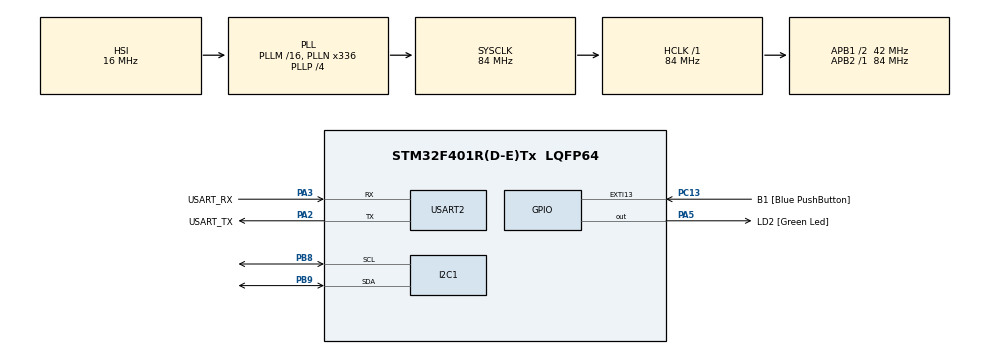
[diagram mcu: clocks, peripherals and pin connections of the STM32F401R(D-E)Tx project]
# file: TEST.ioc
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Mcu.Family=STM32F4
Mcu.Name=STM32F401R(D-E)Tx
Mcu.Package=LQFP64
NVIC.PriorityGroup=NVIC_PRIORITYGROUP_0
PA13.GPIO_Label=TMS
PA13.Mode=Serial_Wire
PA13.Signal=SYS_JTMS-SWDIO
PA14.GPIO_Label=TCK
PA14.Mode=Serial_Wire
PA14.Signal=SYS_JTCK-SWCLK
PA2.GPIO_Label=USART_TX
PA2.GPIO_Mode=GPIO_MODE_AF_PP
PA2.GPIO_PuPd=GPIO_NOPULL
PA2.GPIO_Speed=GPIO_SPEED_FREQ_LOW
PA2.Mode=Asynchronous
PA2.Signal=USART2_TX
PA3.GPIO_Label=USART_RX
PA3.GPIO_Mode=GPIO_MODE_AF_PP
PA3.GPIO_PuPd=GPIO_NOPULL
PA3.GPIO_Speed=GPIO_SPEED_FREQ_LOW
PA3.Mode=Asynchronous
PA3.Signal=USART2_RX
PA5.GPIO_Label=LD2 [Green Led]
PA5.GPIO_Mode=GPIO_MODE_OUTPUT_PP
PA5.GPIO_PuPd=GPIO_NOPULL
PA5.GPIO_Speed=GPIO_SPEED_FREQ_LOW
PA5.Signal=GPIO_Output
PB3.GPIO_Label=SWO
PB3.Signal=SYS_JTDO-SWO
PB8.Mode=I2C
PB8.Signal=I2C1_SCL
PB9.Mode=I2C
PB9.Signal=I2C1_SDA
PC13-ANTI_TAMP.GPIO_Label=B1 [Blue PushButton]
PC13-ANTI_TAMP.GPIO_ModeDefaultEXTI=GPIO_MODE_IT_FALLING
PC13-ANTI_TAMP.GPIO_PuPd=GPIO_NOPULL
PC13-ANTI_TAMP.Signal=GPXTI13
PC14-OSC32_IN.Mode=LSE-External-Oscillator
PC14-OSC32_IN.Signal=RCC_OSC32_IN
PC15-OSC32_OUT.Mode=LSE-External-Oscillator
PC15-OSC32_OUT.Signal=RCC_OSC32_OUT
PH0\ -\ OSC_IN.Mode=HSE-External-Clock-Source
PH0\ -\ OSC_IN.Signal=RCC_OSC_IN
PH1\ -\ OSC_OUT.Mode=HSE-External-Clock-Source
PH1\ -\ OSC_OUT.Signal=RCC_OSC_OUT
ProjectManager.HeapSize=0x200
ProjectManager.StackSize=0x400
ProjectManager.TargetToolchain=Makefile
RCC.48MHZClocksFreq_Value=48000000
RCC.AHBFreq_Value=84000000
RCC.APB1CLKDivider=RCC_HCLK_DIV2
RCC.APB1Freq_Value=42000000
RCC.APB1TimFreq_Value=84000000
RCC.APB2Freq_Value=84000000
RCC.APB2TimFreq_Value=84000000
RCC.CortexFreq_Value=84000000
RCC.HCLKFreq_Value=84000000
RCC.HSE_VALUE=8000000
RCC.HSI_VALUE=16000000
RCC.PLLN=336
RCC.PLLP=RCC_PLLP_DIV4
RCC.PLLQ=7
RCC.SYSCLKFreq_VALUE=84000000
RCC.SYSCLKSource=RCC_SYSCLKSOURCE_PLLCLK
RCC.VCOOutputFreq_Value=336000000
USART2.VirtualMode=VM_ASYNC
board=NUCLEO-F401RE

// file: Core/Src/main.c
/* USER CODE BEGIN Header */
/**
 ******************************************************************************
 * @file           : main.c
 * @brief          : Main program body
 ******************************************************************************
 * @attention
 *
 * Copyright (c) 2023 STMicroelectronics.
 * All rights reserved.
 *
 * This software is licensed under terms that can be found in the LICENSE file
 * in the root directory of this software component.
 * If no LICENSE file comes with this software, it is provided AS-IS.
 *
 ******************************************************************************
 */
/* USER CODE END Header */
#include "main.h"

/* USER CODE BEGIN Includes */
#include <stdio.h>
/* USER CODE END Includes */

/* USER CODE BEGIN PTD */
struct MPU6050_data
{
  int8_t accelX_MSB, accelX_LSB;
  int8_t accelY_MSB, accelY_LSB;
  int8_t accelZ_MSB, accelZ_LSB;

  int8_t temp_MSB, temp_LSB;

  int8_t gyroX_MSB, gyroX_LSB;
  int8_t gyroY_MSB, gyroY_LSB;
  int8_t gyroZ_MSB, gyroZ_LSB;
};

struct __attribute__ ((packed)) MPU6050_accel_data
{
  uint8_t SOH;
  float accX, accY, accZ;
  uint8_t EOT;
};
/* USER CODE END PTD */

/* USER CODE BEGIN PM */
#define IMU_ADR_WRITE   (0x68 << 1) + 0
#define IMU_ADR_READ    (0x68 << 1) + 1
#define MPU_ACCEL_COEF  (2.0f / 32767.0f)
#define MPU_GYRO_COEF   (250.0f / 32767.0f)
/* USER CODE END PM */

I2C_HandleTypeDef hi2c1;

UART_HandleTypeDef huart2;

/* USER CODE BEGIN PV */
int _write(int fd, char *ptr, int len)
{
  HAL_UART_Transmit(&huart2, (uint8_t *)ptr, len, HAL_MAX_DELAY);
  return len;
}

void send_data(uint8_t *ptr, int len)
{
  HAL_UART_Transmit(&huart2, (uint8_t *)ptr, len, HAL_MAX_DELAY);
}
/* USER CODE END PV */

void SystemClock_Config(void);
static void MX_GPIO_Init(void);
static void MX_USART2_UART_Init(void);
static void MX_I2C1_Init(void);
/* USER CODE BEGIN PFP */
void Read_info();
/* USER CODE END PFP */

/* USER CODE BEGIN 0 */
void Read_info()
{
    // Recover all data from the MPU in one call using our stuct
    // Register 59 to 64 Accelerometer (see register map p29)
    // Register 65 to 66 Accelerometer (see register map 30)
    // Register 67 to 72 Accelerometer (see register map 31)
  struct MPU6050_data data;
  HAL_I2C_Mem_Read(&hi2c1, IMU_ADR_READ, 59, 1, (uint8_t*)&data, sizeof(struct MPU6050_data), HAL_MAX_DELAY);

  struct MPU6050_accel_data dataToSend;
  // Converting our value to g force(Accel) and to deg/sec(Gyro)
  dataToSend.SOH = 0x1;
  dataToSend.accX = MPU_ACCEL_COEF * (((int16_t)data.accelX_MSB << 8) + (int16_t)data.accelX_LSB);
  dataToSend.accY = MPU_ACCEL_COEF * (((int16_t)data.accelY_MSB << 8) + (int16_t)data.accelY_LSB);
  dataToSend.accZ = MPU_ACCEL_COEF * (((int16_t)data.accelZ_MSB << 8) + (int16_t)data.accelZ_LSB);
  dataToSend.EOT = 0x4;
  /*float gyroX = MPU_GYRO_COEF * (((int16_t)data.gyroX_MSB << 8) + (int16_t)data.gyroX_LSB);
  float gyroY = MPU_GYRO_COEF * (((int16_t)data.gyroY_MSB << 8) + (int16_t)data.gyroY_LSB);
  float gyroZ = MPU_GYRO_COEF * (((int16_t)data.gyroZ_MSB << 8) + (int16_t)data.gyroZ_LSB);*/

  /*printf(">accelX:%f\n", dataToSend.accX);
  printf(">accelY:%f\n", dataToSend.accY);
  printf(">accelZ:%f\n", dataToSend.accZ);*/
  /*printf(">gyroX:%f\n", gyroX);
  printf(">gyroY:%f\n", gyroY);
  printf(">gyroZ:%f\n", gyroZ);*/
  send_data((uint8_t*)&dataToSend, sizeof(struct MPU6050_accel_data));
}
/* USER CODE END 0 */

int main(void)
{

  /* MCU Configuration--------------------------------------------------------*/

  /* Reset of all peripherals, Initializes the Flash interface and the Systick. */
  HAL_Init();

  /* Configure the system clock */
  SystemClock_Config();

  /* Initialize all configured peripherals */
  MX_GPIO_Init();
  MX_USART2_UART_Init();
  MX_I2C1_Init();
  /* USER CODE BEGIN 2 */

  // Init the I2C device
  HAL_StatusTypeDef ret = HAL_I2C_IsDeviceReady(&hi2c1, IMU_ADR_WRITE, 1, HAL_MAX_DELAY);
  if (ret != HAL_OK)
  {
    printf("Failed to init device!\n");
    return 1;
  }

  uint8_t data = 0;
  // Set the gyroscope scale range to +/-250 deg/s
  // Register 27 (see register map p14)
  HAL_I2C_Mem_Write(&hi2c1, IMU_ADR_WRITE, 27, 1, &data, 1, HAL_MAX_DELAY);
  if (ret != HAL_OK)
  {
    printf("Failed to setup gyroscope range!\n");
    return 1;
  }

  // Set the accelerometer scale range to +/-2G deg/s
  // Register 28 (see register map p15)
  HAL_I2C_Mem_Write(&hi2c1, IMU_ADR_WRITE, 28, 1, &data, 1, HAL_MAX_DELAY);
  if (ret != HAL_OK)
  {
    printf("Failed to setup accelerometer range!\n");
    return 1;
  }

  // Enables ACCEL_XOUT_H, ACCEL_XOUT_L, ACCEL_YOUT_H, ACCEL_YOUT_L, ACCEL_ZOUT_H, and ACCEL_ZOUT_L
  // Register 38 (see register map p15)
  /*HAL_I2C_Mem_Write(&hi2c1, IMU_ADR_WRITE, 38, 1, &data, 1, HAL_MAX_DELAY);
  if (ret != HAL_OK)
  {
    printf("Failed to set FIFO with accelo!\n");
    return 1;
  }*/

  // Enable FIFO_OFLOW_EN
  // Register 60 (see register map p40)
  /*HAL_I2C_Mem_Write(&hi2c1, IMU_ADR_WRITE, 60, 1, &data, 1, HAL_MAX_DELAY);
  if (ret != HAL_OK)
  {
    printf("Failed to wake up the device!\n");
    return 1;
  }*/

  // Exit sleep mode / Wake up the device. We won't receive any data when it is in sleep mode.
  // Register 107 (see register map p40)
  HAL_I2C_Mem_Write(&hi2c1, IMU_ADR_WRITE, 107, 1, &data, 1, HAL_MAX_DELAY);
  if (ret != HAL_OK)
  {
    printf("Failed to wake up the device!\n");
    return 1;
  }

  printf("MPU6050 Initialized correctly\n");
  // Little delay in case the MPU need to do some work before being able to receive data
  HAL_Delay(15);

  /* USER CODE END 2 */
  /* Infinite loop */
  while (1)
  {

    /* USER CODE BEGIN 3 */
    Read_info();
    HAL_Delay(5);
  }
  /* USER CODE END 3 */
}

void SystemClock_Config(void)
{
  RCC_OscInitTypeDef RCC_OscInitStruct = {0};
  RCC_ClkInitTypeDef RCC_ClkInitStruct = {0};

  /** Configure the main internal regulator output voltage
   */
  __HAL_RCC_PWR_CLK_ENABLE();
  __HAL_PWR_VOLTAGESCALING_CONFIG(PWR_REGULATOR_VOLTAGE_SCALE2);

  /** Initializes the RCC Oscillators according to the specified parameters
   * in the RCC_OscInitTypeDef structure.
   */
  RCC_OscInitStruct.OscillatorType = RCC_OSCILLATORTYPE_HSI;
  RCC_OscInitStruct.HSIState = RCC_HSI_ON;
  RCC_OscInitStruct.HSICalibrationValue = RCC_HSICALIBRATION_DEFAULT;
  RCC_OscInitStruct.PLL.PLLState = RCC_PLL_ON;
  RCC_OscInitStruct.PLL.PLLSource = RCC_PLLSOURCE_HSI;
  RCC_OscInitStruct.PLL.PLLM = 16;
  RCC_OscInitStruct.PLL.PLLN = 336;
  RCC_OscInitStruct.PLL.PLLP = RCC_PLLP_DIV4;
  RCC_OscInitStruct.PLL.PLLQ = 7;
  if (HAL_RCC_OscConfig(&RCC_OscInitStruct) != HAL_OK)
  {
    Error_Handler();
  }

  /** Initializes the CPU, AHB and APB buses clocks
   */
  RCC_ClkInitStruct.ClockType = RCC_CLOCKTYPE_HCLK | RCC_CLOCKTYPE_SYSCLK | RCC_CLOCKTYPE_PCLK1 | RCC_CLOCKTYPE_PCLK2;
  RCC_ClkInitStruct.SYSCLKSource = RCC_SYSCLKSOURCE_PLLCLK;
  RCC_ClkInitStruct.AHBCLKDivider = RCC_SYSCLK_DIV1;
  RCC_ClkInitStruct.APB1CLKDivider = RCC_HCLK_DIV2;
  RCC_ClkInitStruct.APB2CLKDivider = RCC_HCLK_DIV1;

  if (HAL_RCC_ClockConfig(&RCC_ClkInitStruct, FLASH_LATENCY_2) != HAL_OK)
  {
    Error_Handler();
  }
}

static void MX_I2C1_Init(void)
{

  hi2c1.Instance = I2C1;
  hi2c1.Init.ClockSpeed = 100000;
  hi2c1.Init.DutyCycle = I2C_DUTYCYCLE_2;
  hi2c1.Init.OwnAddress1 = 0;
  hi2c1.Init.AddressingMode = I2C_ADDRESSINGMODE_7BIT;
  hi2c1.Init.DualAddressMode = I2C_DUALADDRESS_DISABLE;
  hi2c1.Init.OwnAddress2 = 0;
  hi2c1.Init.GeneralCallMode = I2C_GENERALCALL_DISABLE;
  hi2c1.Init.NoStretchMode = I2C_NOSTRETCH_DISABLE;
  if (HAL_I2C_Init(&hi2c1) != HAL_OK)
  {
    Error_Handler();
  }
}

static void MX_USART2_UART_Init(void)
{

  huart2.Instance = USART2;
  huart2.Init.BaudRate = 115200;
  huart2.Init.WordLength = UART_WORDLENGTH_8B;
  huart2.Init.StopBits = UART_STOPBITS_1;
  huart2.Init.Parity = UART_PARITY_NONE;
  huart2.Init.Mode = UART_MODE_TX_RX;
  huart2.Init.HwFlowCtl = UART_HWCONTROL_NONE;
  huart2.Init.OverSampling = UART_OVERSAMPLING_16;
  if (HAL_UART_Init(&huart2) != HAL_OK)
  {
    Error_Handler();
  }
}

static void MX_GPIO_Init(void)
{
  GPIO_InitTypeDef GPIO_InitStruct = {0};

  /* GPIO Ports Clock Enable */
  __HAL_RCC_GPIOC_CLK_ENABLE();
  __HAL_RCC_GPIOH_CLK_ENABLE();
  __HAL_RCC_GPIOA_CLK_ENABLE();
  __HAL_RCC_GPIOB_CLK_ENABLE();

  /*Configure GPIO pin Output Level */
  HAL_GPIO_WritePin(LD2_GPIO_Port, LD2_Pin, GPIO_PIN_RESET);

  /*Configure GPIO pin : B1_Pin */
  GPIO_InitStruct.Pin = B1_Pin;
  GPIO_InitStruct.Mode = GPIO_MODE_IT_FALLING;
  GPIO_InitStruct.Pull = GPIO_NOPULL;
  HAL_GPIO_Init(B1_GPIO_Port, &GPIO_InitStruct);

  /*Configure GPIO pin : LD2_Pin */
  GPIO_InitStruct.Pin = LD2_Pin;
  GPIO_InitStruct.Mode = GPIO_MODE_OUTPUT_PP;
  GPIO_InitStruct.Pull = GPIO_NOPULL;
  GPIO_InitStruct.Speed = GPIO_SPEED_FREQ_LOW;
  HAL_GPIO_Init(LD2_GPIO_Port, &GPIO_InitStruct);
}

void Error_Handler(void)
{
  __disable_irq();
  while (1)
  {
  }
}
